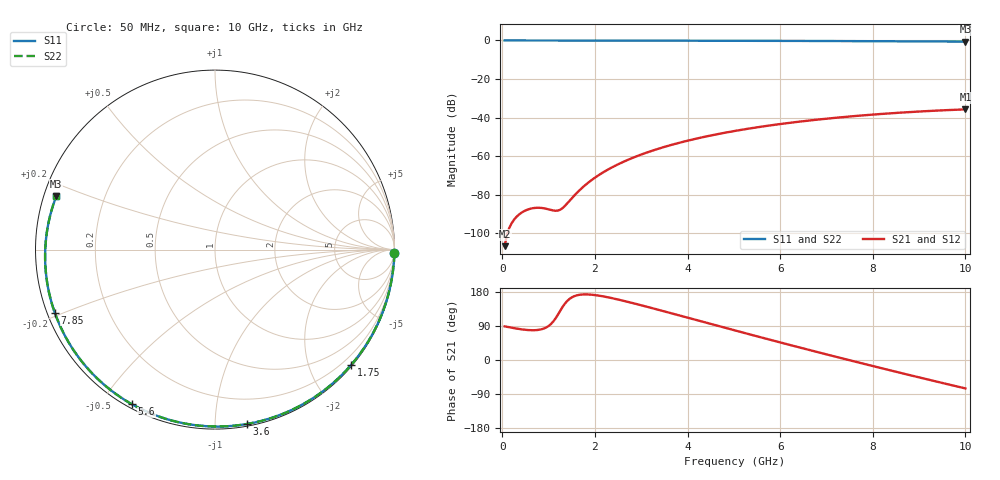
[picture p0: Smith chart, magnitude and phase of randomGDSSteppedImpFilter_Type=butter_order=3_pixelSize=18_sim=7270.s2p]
! freq	dB(S11)	phase(S11)	dB(S12)	phase(S12)
!  dB(S21)	phase(S21)	dB(S22)	phase(S22)
!S-par simulation data
#  GHz  S  DB  R 50
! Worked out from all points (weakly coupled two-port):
!   200 points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, 50 MHz to 10 GHz, reference 50 ohm
!   highest |S21| = -35.76 dB at 10 GHz (marker M1); lowest = -106.7 dB at 50 MHz (marker M2)
!   lowest |S11| = -0.6 dB at 10 GHz (marker M3), VSWR 28.85, Z = 1.78 + j8.21 ohm
!   |S11| at or under -10 dB: nowhere
!   |S22| runs from -0.6 to 0.0 dB; largest |S21 - S12| = 0
!   S11 on the Smith chart (normalised r, x): 50 MHz: open; 1.75 GHz: 0.02, -2.72; 3.6 GHz: 0.01, -1.20; 5.6 GHz: 0.02, -0.60; 7.85 GHz: 0.02, -0.19; 10 GHz: 0.04, +0.16
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0.05  -0.00 -1.1  -106.71 88.8  -106.71 88.8  -0.00 -1.2
0.45  -0.02 -10.5  -88.82 80.4  -88.82 80.4  -0.02 -10.5
0.8  -0.02 -18.7  -86.80 79.9  -86.80 79.9  -0.02 -18.7
1.55  -0.05 -35.8  -80.59 168.2  -80.59 168.2  -0.05 -35.8
1.6  -0.05 -36.9  -79.32 170.3  -79.32 170.3  -0.05 -36.9
1.75  -0.05 -40.3  -75.88 173.0  -75.88 173.0  -0.05 -40.3
2.05  -0.06 -47.0  -70.36 170.5  -70.36 170.5  -0.06 -47.0
2.25  -0.07 -51.3  -67.40 166.2  -67.40 166.2  -0.07 -51.3
2.45  -0.07 -55.7  -64.84 161.0  -64.84 161.0  -0.07 -55.7
2.9  -0.08 -65.3  -60.09 147.6  -60.09 147.6  -0.08 -65.3
3.4  -0.10 -75.7  -55.95 131.6  -55.95 131.6  -0.10 -75.7
3.6  -0.11 -79.7  -54.53 125.0  -54.53 125.0  -0.11 -79.7
4.3  -0.13 -93.6  -50.33 101.9  -50.33 101.9  -0.13 -93.6
5.05  -0.16 -108.0  -46.82 77.2  -46.82 77.2  -0.16 -108.0
5.6  -0.19 -118.2  -44.70 59.3  -44.70 59.3  -0.19 -118.2
6.15  -0.23 -128.2  -42.90 41.6  -42.90 41.6  -0.23 -128.2
6.7  -0.26 -138.0  -41.34 24.2  -41.34 24.2  -0.26 -138.0
7.3  -0.31 -148.7  -39.88 5.5  -39.88 5.5  -0.31 -148.7
7.85  -0.36 -158.5  -38.74 -11.4  -38.74 -11.4  -0.36 -158.5
8.35  -0.41 -167.6  -37.84 -26.5  -37.84 -26.5  -0.41 -167.5
9.2  -0.50 176.8  -36.60 -51.8  -36.60 -51.8  -0.50 176.8
10  -0.60 161.3  -35.76 -74.9  -35.76 -74.9  -0.60 161.3
